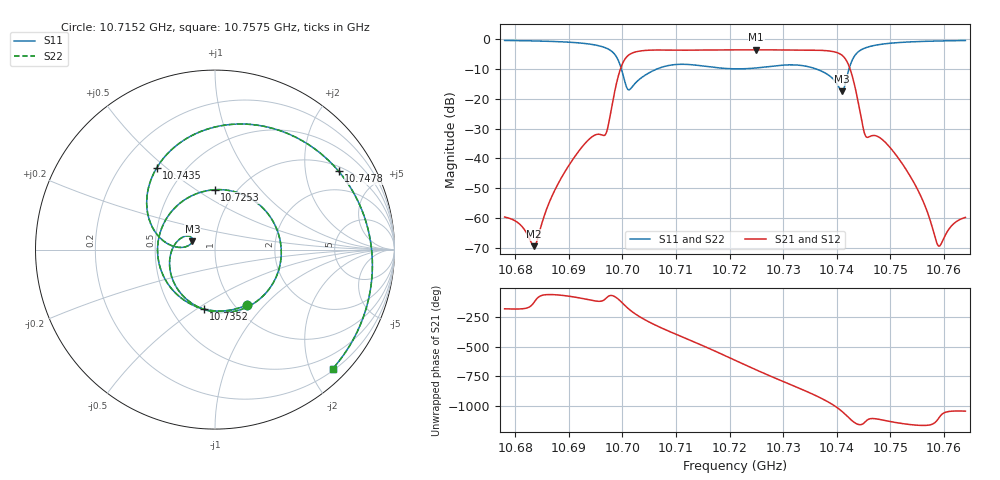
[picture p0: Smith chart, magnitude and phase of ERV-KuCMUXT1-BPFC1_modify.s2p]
! Created with skrf (http://scikit-rf.org).
! Parameters = {f0=10720.8; bw=40; Q=6500; N=10; m_0_1=1.3714995384216309; m_1_1=-0.024921085685491562; m_1_2=1.2164726257324219; m_2_2=-0.02241899073123932; m_2_3=0.7361133694648743; m_2_9=0.01387250330299139; m_3_3=-0.00045364827383309603; m_3_4=0.5863810777664185; m_3_8=-0.07319383323192596; m_4_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
# MHz S RI R 50.0
!freq ReS11 ImS11 ReS21 ImS21 ReS12 ImS12 ReS22 ImS22
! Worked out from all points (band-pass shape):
!   1001 points, 10.678 GHz to 10.764 GHz, reference 50 ohm
!   highest |S21| = -3.51 dB at 10.725 GHz (marker M1); lowest = -69.5 dB at 10.6835 GHz (marker M2)
!   |S21| within 3 dB of the highest: 10.70051 GHz to 10.74158 GHz (41.07 MHz wide, 0.383 % of centre)
!   lowest |S11| = -17.4 dB at 10.741 GHz (marker M3), VSWR 1.31, Z = 38.6 + j3.61 ohm
!   |S11| at or under -10 dB: 10.69981 GHz to 10.70635 GHz (6.548 MHz wide, 0.0612 % of centre); 10.73623 GHz to 10.74227 GHz (6.034 MHz wide, 0.0562 % of centre)
!   |S22| runs from -17.4 to -0.4 dB; largest |S21 - S12| = 0
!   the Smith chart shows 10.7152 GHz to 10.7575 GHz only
!   S11 on the Smith chart (normalised r, x): 10.7152 GHz: 1.14, -0.80; 10.7253 GHz: 0.80, +0.60; 10.7352 GHz: 0.71, -0.54; 10.7435 GHz: 0.35, +0.47; 10.7478 GHz: 1.17, +3.04; 10.7575 GHz: 0.23, -2.37
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10678  0.2735 0.9196  -0.00104 -5.74e-05  -0.00104 -5.74e-05  0.2735 0.9196
10683.5  0.5483 0.766  -0.000176 -0.000286  -0.000176 -0.000286  0.5483 0.766
10692.36  0.8643 -0.0322  0.000602 -0.0152  0.000602 -0.0152  0.8643 -0.0322
10697.18  0.172 -0.6785  0.00694 -0.03  0.00694 -0.03  0.172 -0.6785
10701.65  -0.1353 -0.0714  -0.5578 0.161  -0.5578 0.161  -0.1353 -0.0714
10706.72  -0.0582 0.3209  0.5607 0.3535  0.5607 0.3535  -0.0582 0.3209
10711.63  0.3772 0.0556  0.2841 -0.5941  0.2841 -0.5941  0.3772 0.0556
10715.24  0.179 -0.307  -0.4667 -0.4699  -0.4667 -0.4699  0.179 -0.307
10721  -0.32 -0.00891  -0.1904 0.6387  -0.1904 0.6387  -0.32 -0.00891
10724.96  -0.044 0.3282  0.6065 0.2797  0.6065 0.2797  -0.044 0.3282
10725.3  -0.0027 0.3334  0.6359 0.2041  0.6359 0.2041  -0.0027 0.3334
10730.46  0.3644 -0.073  0.0823 -0.6587  0.0823 -0.6587  0.3644 -0.073
10735.19  -0.0634 -0.3327  -0.6589 -0.0587  -0.6589 -0.0587  -0.0634 -0.3327
10735.36  -0.0824 -0.325  -0.6611 -0.0176  -0.6611 -0.0176  -0.0824 -0.325
10738.72  -0.2418 -0.00792  -0.1525 0.6175  -0.1525 0.6175  -0.2418 -0.00792
10740.95  -0.1264 0.0459  0.4559 0.2958  0.4559 0.2958  -0.1264 0.0459
10743.53  -0.324 0.4569  0.0504 -0.1306  0.0504 -0.1306  -0.324 0.4569
10747.83  0.6893 0.4362  0.0189 -0.013  0.0189 -0.013  0.6893 0.4362
10749.72  0.8458 0.1392  0.01 -0.0126  0.01 -0.0126  0.8458 0.1392
10757.46  0.6557 -0.6638  0.000134 -0.000882  0.000134 -0.000882  0.6557 -0.6638
10759.1  0.5703 -0.7483  0.000317 -0.000112  0.000317 -0.000112  0.5703 -0.7483
10764  0.3239 -0.9005  0.000842 0.000584  0.000842 0.000584  0.3239 -0.9005
